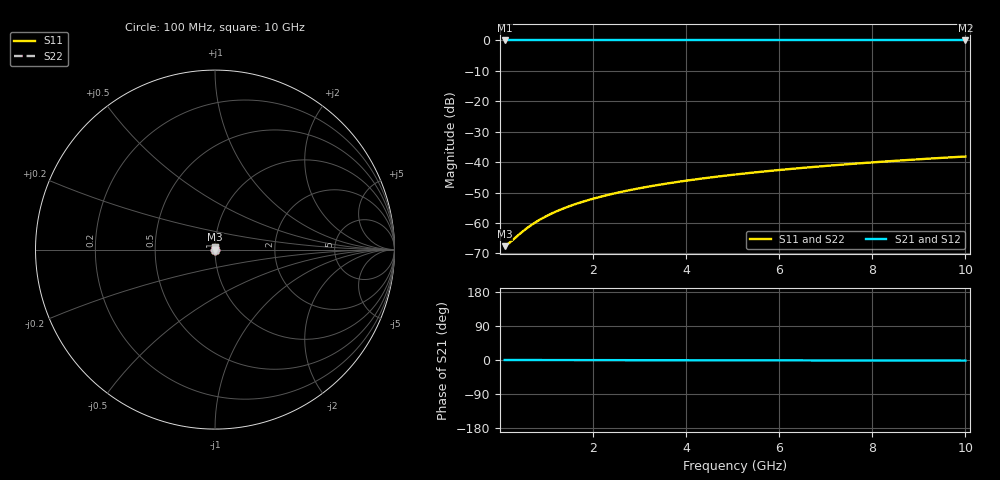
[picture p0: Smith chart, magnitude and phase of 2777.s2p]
# Hz S RI R 50.00
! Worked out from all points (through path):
!   100 points, 100 MHz to 10 GHz, reference 50 ohm
!   highest |S21| = 0.00 dB at 100 MHz (marker M1); lowest = 0.0 dB at 10 GHz (marker M2)
!   lowest |S11| = -67.6 dB at 100 MHz (marker M3), VSWR 1.00, Z = 50 + j0.0124 ohm
!   |S11| at or under -10 dB: start of sweep to end of sweep
!   |S22| runs from -67.6 to -38.1 dB; largest |S21 - S12| = 0
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1e8  0.000398 0.000123  0.9996 -0.000277  0.9996 -0.000277  0.000398 0.000123
2e8  0.000401 0.000247  0.9996 -0.000553  0.9996 -0.000553  0.000401 0.000247
4e8  0.000404 0.000494  0.9996 -0.00111  0.9996 -0.00111  0.000404 0.000494
5e8  0.000406 0.000617  0.9996 -0.00138  0.9996 -0.00138  0.000406 0.000617
6e8  0.000408 0.000741  0.9996 -0.00166  0.9996 -0.00166  0.000408 0.000741
7e8  0.000409 0.000864  0.9996 -0.00194  0.9996 -0.00194  0.000409 0.000864
9e8  0.000412 0.00111  0.9996 -0.00249  0.9996 -0.00249  0.000412 0.00111
1.1e9  0.000415 0.00136  0.9996 -0.00304  0.9996 -0.00304  0.000415 0.00136
1.3e9  0.000418 0.0016  0.9996 -0.0036  0.9996 -0.0036  0.000418 0.0016
1.5e9  0.000421 0.00185  0.9996 -0.00415  0.9996 -0.00415  0.000421 0.00185
1.8e9  0.000426 0.00222  0.9996 -0.00498  0.9996 -0.00498  0.000426 0.00222
2.1e9  0.000431 0.00259  0.9996 -0.00581  0.9996 -0.00581  0.000431 0.00259
2.5e9  0.00044 0.00309  0.9995 -0.00692  0.9995 -0.00692  0.00044 0.00309
2.9e9  0.000449 0.00358  0.9995 -0.00803  0.9995 -0.00803  0.000449 0.00358
3.4e9  0.000461 0.0042  0.9995 -0.00941  0.9995 -0.00941  0.000461 0.0042
4.2e9  0.000485 0.00519  0.9995 -0.0116  0.9995 -0.0116  0.000485 0.00519
5.1e9  0.000517 0.0063  0.9994 -0.0141  0.9994 -0.0141  0.000517 0.0063
5.9e9  0.000549 0.00729  0.9994 -0.0163  0.9994 -0.0163  0.000549 0.00729
6.7e9  0.000587 0.00828  0.9993 -0.0186  0.9993 -0.0186  0.000587 0.00828
7.5e9  0.000628 0.00927  0.9993 -0.0208  0.9993 -0.0208  0.000628 0.00927
8.4e9  0.00068 0.0104  0.9992 -0.0233  0.9992 -0.0233  0.00068 0.0104
1e10  0.000787 0.0124  0.9991 -0.0278  0.9991 -0.0278  0.000787 0.0124
